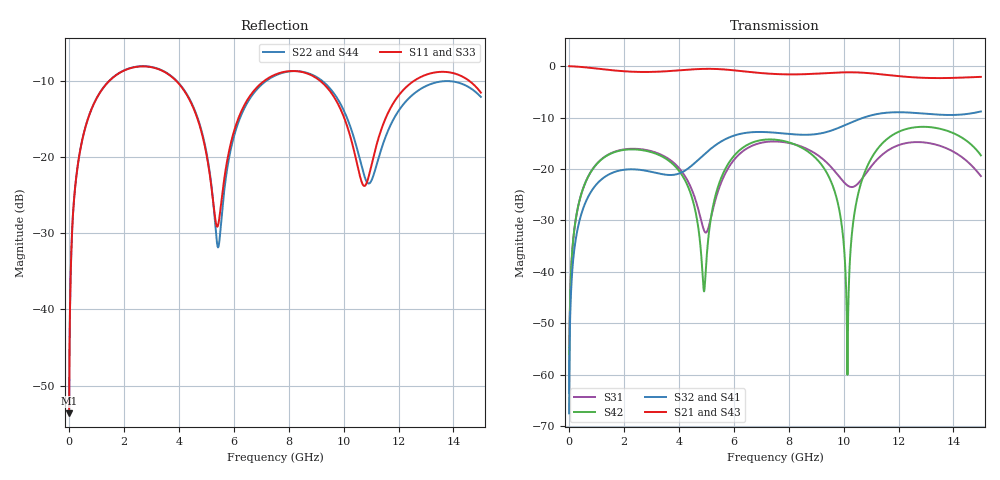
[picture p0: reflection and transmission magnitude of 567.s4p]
! Created with skrf 1.8.0 (http://scikit-rf.org).
# GHz S RI R 50.0
!freq ReS11 ImS11 ReS12 ImS12 ReS13 ImS13
! ReS14 ImS14
! ReS21 ImS21 ReS22 ImS22 ReS23 ImS23
! ReS24 ImS24
! ReS31 ImS31 ReS32 ImS32 ReS33 ImS33
! ReS34 ImS34
! ReS41 ImS41 ReS42 ImS42 ReS43 ImS43
! ReS44 ImS44
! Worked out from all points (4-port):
!   2499 points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, 5 MHz to 15 GHz, reference 50 ohm
!   strongest paths, dB at 5 MHz, 3.476 GHz, 7.19 GHz, 11.1 GHz, 15 GHz:
!     S21: 0.0, -1.0, -1.4, -1.5, -2.1
!     S43: 0.0, -1.0, -1.4, -1.4, -2.1
!     S32: -67.5, -21.1, -12.8, -9.5, -8.8
!     S41: -67.5, -21.1, -12.9, -9.4, -8.8
!     S42: -63.5, -17.8, -14.3, -17.1, -17.3
!     S31: -63.5, -17.5, -14.7, -18.9, -21.4
!   lowest |S11| = -53.6 dB at 5 MHz (marker M1), VSWR 1.00, Z = 50.2 + j0.126 ohm
!   |S11| at or under -10 dB: start of sweep to 1.474 GHz; 3.899 GHz to 7.12 GHz (3.221 GHz wide, 58.5 % of centre); 9.14 GHz to 12.57 GHz (3.432 GHz wide, 31.6 % of centre) (the widest 3 of 4)
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0.005  0.00166 0.00126  0.9983 -0.00323  8.35e-05 0.00066  -8.1e-05 -0.000414
       0.9983 -0.00323  0.00166 0.00126  -8.1e-05 -0.000414  8.34e-05 0.00066
       8.35e-05 0.00066  -8.1e-05 -0.000414  0.00166 0.00126  0.9983 -0.00323
       -8.1e-05 -0.000414  8.34e-05 0.00066  0.9983 -0.00323  0.00166 0.00126
1.569404  0.2767 0.1762  0.5341 -0.7384  0.1321 0.0571  -0.0913 -0.0038
          0.5341 -0.7384  0.2777 0.1755  -0.0915 -0.00366  0.1288 0.0617
          0.1321 0.0571  -0.0915 -0.00366  0.2766 0.1763  0.5342 -0.7384
          -0.0913 -0.0038  0.1288 0.0617  0.5342 -0.7384  0.2778 0.1754
4.914548  0.0646 -0.1072  -0.8744 -0.3439  -0.0223 -0.0122  -0.0469 0.1296
          -0.8744 -0.3439  0.0583 -0.1146  -0.0452 0.1302  0.00646 0.000462
          -0.0223 -0.0122  -0.0452 0.1302  0.0642 -0.1074  -0.8744 -0.344
          -0.0469 0.1296  0.00646 0.000462  -0.8744 -0.344  0.0589 -0.1145
8.416007  0.3599 -0.0463  0.0117 0.8321  0.1385 -0.0932  0.2031 -0.0649
          0.0117 0.8321  0.3622 -0.0353  0.2036 -0.0701  0.1434 -0.0797
          0.1385 -0.0932  0.2036 -0.0701  0.3601 -0.0417  0.0117 0.8318
          0.2031 -0.0649  0.1434 -0.0797  0.0117 0.8318  0.3638 -0.04
10.14173  0.108 -0.1138  0.7272 0.4784  -0.0595 -0.0351  0.1474 -0.2298
          0.7272 0.4784  0.1214 -0.1293  0.1403 -0.2344  -0.000992 0.000116
          -0.0595 -0.0351  0.1403 -0.2344  0.115 -0.1123  0.7264 0.4788
          0.1474 -0.2298  -0.000992 0.000116  0.7264 0.4788  0.1179 -0.1348
11.33597  0.1085 0.0957  0.8258 -0.1152  0.0208 0.1307  -0.0679 -0.3395
          0.8258 -0.1152  0.0898 0.0582  -0.0773 -0.3373  0.1174 0.1213
          0.0208 0.1307  -0.0773 -0.3373  0.1133 0.0896  0.8263 -0.1142
          -0.0679 -0.3395  0.1174 0.1213  0.8263 -0.1142  0.0845 0.0564
15  0.2108 -0.1591  -0.4077 -0.6717  -0.00429 -0.0852  -0.2978 0.2046
    -0.4077 -0.6717  0.2245 -0.1044  -0.2899 0.2169  0.00692 -0.1355
    -0.00429 -0.0852  -0.2899 0.2169  0.2059 -0.1571  -0.4098 -0.6719
    -0.2978 0.2046  0.00692 -0.1355  -0.4098 -0.6719  0.221 -0.1037
